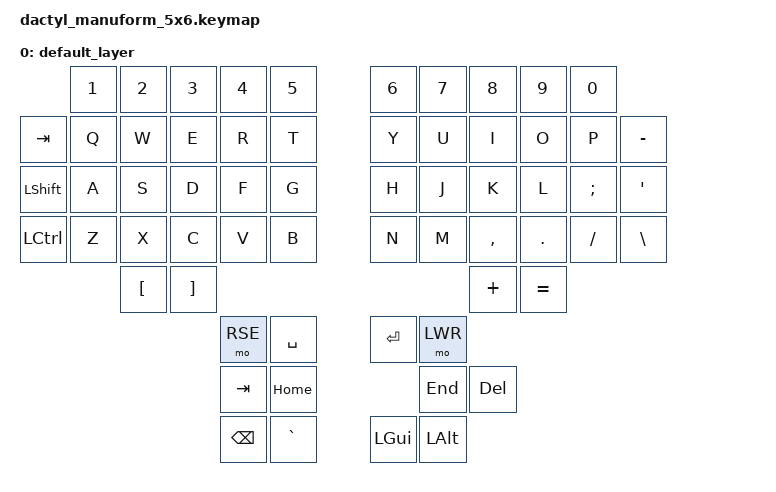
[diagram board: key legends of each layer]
#include <behaviors.dtsi>
#include <dt-bindings/zmk/keys.h>
#include <dt-bindings/zmk/bt.h>
#include <dt-bindings/zmk/outputs.h>

#define DEFAULT 0

/ {
    keymap {
        compatible = "zmk,keymap";

        default_layer {
            bindings = <
                          &kp N1 &kp N2 &kp N3 &kp N4 &kp N5              &kp N6 &kp N7 &kp N8    &kp N9  &kp N0
                &kp TAB   &kp Q  &kp W  &kp E  &kp R  &kp T               &kp Y  &kp U  &kp I     &kp O   &kp P    &kp MINUS
                &kp LSHFT &kp A  &kp S  &kp D  &kp F  &kp G               &kp H  &kp J  &kp K     &kp L   &kp SEMI &kp SQT
                &kp LCTRL &kp Z  &kp X  &kp C  &kp V  &kp B               &kp N  &kp M  &kp COMMA &kp DOT &kp FSLH &kp BSLH
                                 &kp LBKT &kp RBKT                                      &kp PLUS &kp EQUAL
                                            &mo RSE  &kp SPACE            &kp RET  &mo LWR
                                            &kp TAB  &kp HOME                &kp END  &kp DEL
                                            &kp BSPC &kp GRAVE            &kp LGUI &kp LALT
            >;
        };
    };
};
